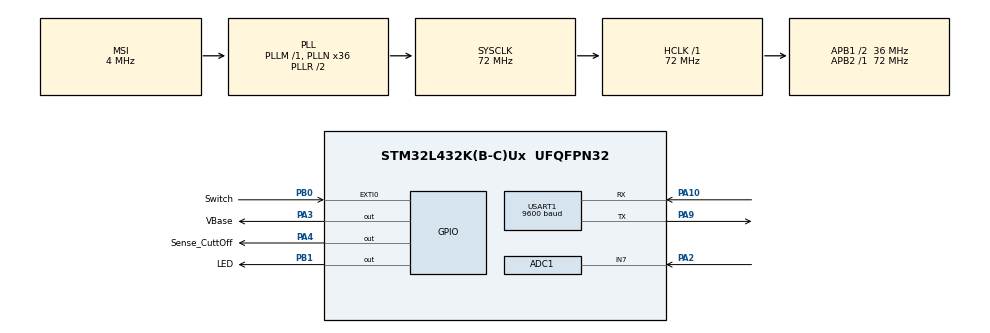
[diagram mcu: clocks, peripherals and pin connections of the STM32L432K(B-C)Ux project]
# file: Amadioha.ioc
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ADC1.Channel-0\#ChannelRegularConversion=ADC_CHANNEL_7
ADC1.ClockPrescaler=ADC_CLOCK_ASYNC_DIV4
ADC1.ContinuousConvMode=DISABLE
ADC1.NbrOfConversionFlag=1
ADC1.OffsetNumber-0\#ChannelRegularConversion=ADC_OFFSET_NONE
ADC1.Rank-0\#ChannelRegularConversion=1
ADC1.SamplingTime-0\#ChannelRegularConversion=ADC_SAMPLETIME_2CYCLES_5
ADC1.master=1
Mcu.Family=STM32L4
Mcu.Name=STM32L432K(B-C)Ux
Mcu.Package=UFQFPN32
NVIC.EXTI0_IRQn=true\:0\:0\:false\:false\:true\:true\:true\:true
NVIC.PriorityGroup=NVIC_PRIORITYGROUP_4
NVIC.TIM2_IRQn=true\:0\:0\:false\:false\:true\:true\:true\:true
NVIC.USART1_IRQn=true\:0\:0\:false\:false\:true\:true\:true\:true
PA10.Mode=Asynchronous
PA10.Signal=USART1_RX
PA13\ (JTMS-SWDIO).Mode=Trace_Asynchronous_SW
PA13\ (JTMS-SWDIO).Signal=SYS_JTMS-SWDIO
PA14\ (JTCK-SWCLK).Mode=Trace_Asynchronous_SW
PA14\ (JTCK-SWCLK).Signal=SYS_JTCK-SWCLK
PA2.Signal=ADCx_IN7
PA3.GPIO_Label=VBase
PA3.Signal=GPIO_Output
PA4.GPIO_Label=Sense_CuttOff
PA4.Signal=GPIO_Output
PA9.Mode=Asynchronous
PA9.Signal=USART1_TX
PB0.GPIO_Label=Switch
PB0.Signal=GPXTI0
PB1.GPIO_Label=LED
PB1.Signal=GPIO_Output
PB3\ (JTDO-TRACESWO).Mode=Trace_Asynchronous_SW
PB3\ (JTDO-TRACESWO).Signal=SYS_JTDO-SWO
ProjectManager.HeapSize=0x200
ProjectManager.StackSize=0x400
ProjectManager.TargetToolchain=STM32CubeIDE
RCC.ADCFreq_Value=32000000
RCC.AHBFreq_Value=72000000
RCC.APB1CLKDivider=RCC_HCLK_DIV2
RCC.APB1Freq_Value=36000000
RCC.APB1TimFreq_Value=72000000
RCC.APB2Freq_Value=72000000
RCC.APB2TimFreq_Value=72000000
RCC.CortexFreq_Value=72000000
RCC.HCLKFreq_Value=72000000
RCC.HSE_VALUE=8000000
RCC.HSI48_VALUE=48000000
RCC.HSI_VALUE=16000000
RCC.LSE_VALUE=32768
RCC.MSI_VALUE=4000000
RCC.PLLN=36
RCC.PLLSAI1N=16
RCC.SYSCLKFreq_VALUE=72000000
RCC.SYSCLKSource=RCC_SYSCLKSOURCE_PLLCLK
RCC.USBFreq_Value=32000000
RCC.VCOOutputFreq_Value=144000000
SH.ADCx_IN7.0=ADC1_IN7,IN7-Single-Ended
TIM2.Period=7199
TIM2.Prescaler=999
USART1.BaudRate=9600
USART1.VirtualMode-Asynchronous=VM_ASYNC
VP_TIM2_VS_ClockSourceINT.Mode=Internal
board=custom

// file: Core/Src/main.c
/* USER CODE BEGIN Header */
/**
  ******************************************************************************
  * @file           : main.c
  * @brief          : Main program body
  ******************************************************************************
  * @attention
  *
  * Copyright (c) 2024 STMicroelectronics.
  * All rights reserved.
  *
  * This software is licensed under terms that can be found in the LICENSE file
  * in the root directory of this software component.
  * If no LICENSE file comes with this software, it is provided AS-IS.
  *
 **********************PROJECT DESCRIPTION***********************************
  *  Firmware for smart light switch. Smart switch communicates with Hub to connecto to the internet
  *  Sends current value (A) to hub via zigbee network
  *  Receives action command to turn on or off load from end device(motion sensor)
  *  also receives on and off command from Hub (interface from internet)
  ******************************************************************************
  *
  * Data frame via Zigbee Protocol
  *Receive  	   [11]
  *Receive 		   [0]: ATSL 1
  *Receive 		   [1]: ATSL 2
  *Receive 		   [2]: ATSL 3
  *Receive 		   [3]: ATSL 4
  *Receive 		   [4]: ATSL 5
  *Receive 		   [5]: ATSL 6
  *Receive 		   [6]: ATSL 7
  *Receive 		   [7]: ATSL 8
  *Receive 		   [8]: Control -> Command (C0) or Request (FF)
  *Receive 		   [9]: Command Data -> Turn ON Load (0F) Turn off Load (0A)
  *Receive 		   [10]: Request Data -> Current Data (01)
  *Receive 		   [11]: '\r' End of Message
  *
  *Timers:
  *Timers:
    ******************************************************************************
  */
/* USER CODE END Header */
#include "main.h"
#include "adc.h"
#include "tim.h"
#include "usart.h"
#include "gpio.h"

/* USER CODE BEGIN Includes */
#include <stdio.h>
#include <string.h>
#include "math.h"
#include <zigbee.h>
/* USER CODE END Includes */

/* USER CODE BEGIN PV */
///////// XBee PV ////////////////////
uint8_t loadActive = 0;				 // Status for active Load
uint8_t previousLoadActive = 0;		// Store previous load state
uint8_t Load_Active[11] = {52, 50, 55, 48, 55, 53, 55, 65, 0xB3, 0x11, 0x0D};	// load active feedback
uint8_t Load_Inactive[11] = {52, 50, 55, 48, 55, 53, 55, 65, 0xB3, 0xAA, 0x0D}; // load inactive feedback

//Xbee transmission dataframe

 XBeeModule XBeeData =
 {		//initialization
		.rx_buffer = {0},
		.received_byte = 0,
		.data_received_flag = 0,
		.overflow_flag = 0,
		.myAddress = {0}
};
 NodeDiscovery newNode[MAX_DEVICES];

uint8_t myDestLow[8];			// store destination address low
uint8_t Control;                //used to determine if message is a request or command
uint8_t Data;				   // Transmission data
uint8_t deviceCount = 1;		// # of devices in network. initialized with 1 to count current device

//ADC PV for Current reading
float currentRMS = 0;  // Read current RMS value
volatile uint16_t adcValue;
volatile uint32_t lastDebounceTime = 0;
float samples[SAMPLE_COUNT];
char buffer[32];
char currentResponse[CURRENT_RESPONSE_SIZE];

/* USER CODE END PV */

void SystemClock_Config(void);
/* USER CODE BEGIN PFP */
void Enable_Load(void);
void Disable_Load(void);
void CheckAndTransmitLoadChange(void);
uint32_t Parse_RxSLData(uint8_t[]);
float Read_ADC(void);
float Calculate_RMS(float samples[], int sampleCount);
void handleSwitchControl(uint8_t Data);
void handleCurrentControl(void);
void RQPowerLevel();
void TxPowerLevel(uint8_t Level);
/* USER CODE END PFP */

int main(void)
{

  /* MCU Configuration--------------------------------------------------------*/

  /* Reset of all peripherals, Initializes the Flash interface and the Systick. */
	HAL_Init();

  /* Configure the system clock */
  SystemClock_Config();

  /* Initialize all configured peripherals */
  MX_GPIO_Init();
  MX_ADC1_Init();
  MX_USART1_UART_Init();
  MX_TIM2_Init();
  /* USER CODE BEGIN 2 */
  HAL_TIM_Base_Start_IT(&htim2);
  HAL_UART_Receive_IT(&huart1, &XBeeData.received_byte, 1);  // start IT receiving

/* XBEE Configuration--------------------------------------------------------*/
//
  //
  //enterCommandMode();
  //factoryReset();
  //XBee_NodeDiscovery();  // discover all devices in the same network. store in newNode
  //exitCommandMode();
 // HAL_Delay(2000);
  //requestParameter("ATdb\r", myDestLow, sizeof(myDestLow));
  //setDestinationAddress(ADDRESS_HIGH, 0x4270271A);
  //setParameter("ATNI SWITCH\r");
 // Request and store XBee Serial Number Low
   enterCommandMode();
   if (requestParameter("ATSL\r", XBeeData.myAddress, sizeof(XBeeData.myAddress)) == XBEE_SUCCESS) {
  } else {
	  //Blink LED in a loop to indicate issue
      while(1){
    	  HAL_GPIO_TogglePin(LED_GPIO_Port, LED_Pin); // turn on LEDs
    	  HAL_Delay(100);
      }
  }

/* XBEE Configuration Ends--------------------------------------------------*/
  /* USER CODE END 2 */
  memcpy(currentResponse, XBeeData.myAddress, 8);  //append my serial # low to current value response variable
  /* Infinite loop */
  /* USER CODE BEGIN WHILE */

  /*        BLICK TWICE FOR SUCCESSFUL INITIALIZATION       */
  HAL_GPIO_WritePin(LED_GPIO_Port, LED_Pin, GPIO_PIN_RESET);
  for(int j = 0; j < 2; j++)
  {
	  HAL_GPIO_TogglePin(LED_GPIO_Port, LED_Pin);
	  HAL_Delay(500);
  }

  while (1)
  {

	  if (XBeeData.data_received_flag) {
	           // Check if the message is meant for me
	           if (memcmp(XBeeData.myAddress, XBeeData.rx_buffer, 8) == 0) {
	               // Extract and handle command and data
	               Control = XBeeData.rx_buffer[8];
	               Data = XBeeData.rx_buffer[9];

	               if (Control == 0xC0) {
	                   handleSwitchControl(Data);
	               } else if (Control == 0xFF && Data == 0x01) {
	                   handleCurrentControl();
	               }
	           }

	           // Reset flags and buffers after processing
	           XBeeData.data_received_flag = 0;
	           memset(XBeeData.rx_buffer, 0, DATA_BUFFER_SIZE);
	           HAL_UART_Receive_IT(&huart1, &XBeeData.received_byte, 1);
	       }

    /* USER CODE END WHILE */

  }
}

void SystemClock_Config(void)
{
  RCC_OscInitTypeDef RCC_OscInitStruct = {0};
  RCC_ClkInitTypeDef RCC_ClkInitStruct = {0};

  /** Configure the main internal regulator output voltage
  */
  if (HAL_PWREx_ControlVoltageScaling(PWR_REGULATOR_VOLTAGE_SCALE1) != HAL_OK)
  {
    Error_Handler();
  }

  /** Initializes the RCC Oscillators according to the specified parameters
  * in the RCC_OscInitTypeDef structure.
  */
  RCC_OscInitStruct.OscillatorType = RCC_OSCILLATORTYPE_MSI;
  RCC_OscInitStruct.MSIState = RCC_MSI_ON;
  RCC_OscInitStruct.MSICalibrationValue = 0;
  RCC_OscInitStruct.MSIClockRange = RCC_MSIRANGE_6;
  RCC_OscInitStruct.PLL.PLLState = RCC_PLL_ON;
  RCC_OscInitStruct.PLL.PLLSource = RCC_PLLSOURCE_MSI;
  RCC_OscInitStruct.PLL.PLLM = 1;
  RCC_OscInitStruct.PLL.PLLN = 36;
  RCC_OscInitStruct.PLL.PLLP = RCC_PLLP_DIV7;
  RCC_OscInitStruct.PLL.PLLQ = RCC_PLLQ_DIV2;
  RCC_OscInitStruct.PLL.PLLR = RCC_PLLR_DIV2;
  if (HAL_RCC_OscConfig(&RCC_OscInitStruct) != HAL_OK)
  {
    Error_Handler();
  }

  /** Initializes the CPU, AHB and APB buses clocks
  */
  RCC_ClkInitStruct.ClockType = RCC_CLOCKTYPE_HCLK|RCC_CLOCKTYPE_SYSCLK
                              |RCC_CLOCKTYPE_PCLK1|RCC_CLOCKTYPE_PCLK2;
  RCC_ClkInitStruct.SYSCLKSource = RCC_SYSCLKSOURCE_PLLCLK;
  RCC_ClkInitStruct.AHBCLKDivider = RCC_SYSCLK_DIV1;
  RCC_ClkInitStruct.APB1CLKDivider = RCC_HCLK_DIV2;
  RCC_ClkInitStruct.APB2CLKDivider = RCC_HCLK_DIV1;

  if (HAL_RCC_ClockConfig(&RCC_ClkInitStruct, FLASH_LATENCY_4) != HAL_OK)
  {
    Error_Handler();
  }
}

/* USER CODE BEGIN 4 */

// Function to read ADC value
float Read_ADC(void)
{
    HAL_ADC_Start(&hadc1);  // Start ADC conversion
    HAL_ADC_PollForConversion(&hadc1, HAL_MAX_DELAY);  // Wait for conversion to finish
     adcValue = HAL_ADC_GetValue(&hadc1);  // Get the ADC value

    volatile float voltage = (adcValue / ADC_RESOLUTION) * V_REF;  // Convert ADC value to voltage
    float zeroCurrentVoltage = 2.45;      // Measured sensor output voltage at zero current
    // Calculate current using sensor sensitivity (mV/A)
    float current = (voltage - zeroCurrentVoltage) / SENSITIVITY;  // in Amps
    return current;
}
// Function to calculate the RMS value of the sampled current
float Calculate_RMS(float samples[], int sampleCount) {
    float sumSquares = 0;

    for (int i = 0; i < sampleCount; i++) {
        sumSquares += samples[i] * samples[i];
    }

    // Return the square root of the mean of the squares (RMS value)
    return sqrt(sumSquares / sampleCount);
}

/*
 * checks if load changed state and transmits new state to motion sensor
 */
void CheckAndTransmitLoadChange(void)
{
    if (loadActive != previousLoadActive) {

        if (loadActive) {
            HAL_UART_Transmit(&huart1, Load_Active, sizeof(Load_Active), HAL_MAX_DELAY);  // Send "load active" message
        } else {
            HAL_UART_Transmit(&huart1, Load_Inactive, sizeof(Load_Inactive), HAL_MAX_DELAY);  // Send "load inactive" message
        }

        previousLoadActive = loadActive;
    }
}
/*
 * @func processes information for load control
 * @param Data section of Rx transmission
 */
void handleSwitchControl(uint8_t Data)
{
    if (Data == 0x0F) {
        if (!loadActive) {
            Enable_Load();
        }
    } else if (Data == 0x0A) {
        if (loadActive) {
            Disable_Load();
        }
    }
}

// Function to handle Control == 0xFF and Data == 0x01
void handleCurrentControl()
{
    // Take sample of SAMPLE_COUNT of current readings
    for (int i = 0; i < SAMPLE_COUNT; i++) {
        samples[i] = Read_ADC();
        HAL_Delay(1);
    }
    currentRMS = Calculate_RMS(samples, SAMPLE_COUNT); // Calculate the RMS value
    sprintf(buffer, "%.2f\r", currentRMS); // Format float to a string

    int msgLength = strlen((char*)currentResponse);
    int bufferLength = strlen(buffer);
    if (msgLength + bufferLength  < CURRENT_RESPONSE_SIZE){
        strcat((char *)currentResponse, buffer); // Append currentRMS to xbeeMessage
    }
    HAL_UART_Transmit(&huart1,  (uint8_t *)currentResponse, strlen((char*)currentResponse), HAL_MAX_DELAY);

    // Reset the currentResponse to its initial state
    memset(currentResponse + 8, 0, CURRENT_RESPONSE_SIZE - 8); // Clear all content after the 8-byte address
    currentResponse[8] = '\0'; // Ensure null termination
}

/*
 * Enable Load when Load is disabled
 * Turn on Onboard LED
 */
void Enable_Load(void)
{
	loadActive = 1;

	HAL_GPIO_WritePin(LED_GPIO_Port, LED_Pin, SET); // turn on LEDs
	HAL_GPIO_WritePin(GPIOA, VBase_Pin, SET); //engage relay
	CheckAndTransmitLoadChange();
}
/*
 * Disable Load when Load is active
 * Turn off Onboard LED
 */
void Disable_Load(void)
{
	loadActive = 0;

	HAL_GPIO_WritePin(LED_GPIO_Port, LED_Pin, RESET); // turn off LEDs
	HAL_GPIO_WritePin(GPIOA, VBase_Pin, RESET); // disengage relay
	CheckAndTransmitLoadChange();
}
/*
 * Parse Received Data for ATSL
 *
 */
uint32_t Parse_RxSLData(uint8_t data[])
{
	uint32_t address = 0;
    // Shift and merge the 4 bytes into a 32-bit integer
    address |= ((uint32_t)data[0] << 24);  // Most significant byte
    address |= ((uint32_t)data[1] << 16);
    address |= ((uint32_t)data[2] << 8);
    address |= ((uint32_t)data[3] << 0);   // Least significant byte

    return address;
}

/* Check if the power on button is pushed
 * if pushed when the load is active, it turns off the load and vice-versa
*/
 void HAL_GPIO_EXTI_Callback(uint16_t GPIO_Pin)
{

	 if(GPIO_Pin == Switch_Pin)
	     {
	         /* Get the current time (in milliseconds) */
	         uint32_t currentTime = HAL_GetTick(); // HAL_GetTick() returns the system time in ms
	         /* Check if enough time has passed since the last press to consider this a valid press */
	         if((currentTime - lastDebounceTime) >= DEBOUNCE_DELAY_MS)
	         {
	             /* Toggle the load state */
	             (loadActive) ? Disable_Load(): Enable_Load();
	             /* Update the last debounce time */
	             lastDebounceTime = currentTime;
	         }
	     }
}

 /*
  * Receive interrupt callback function
  */

 void HAL_UART_RxCpltCallback(UART_HandleTypeDef *huart) {
     static uint8_t index = 0;

     if (huart->Instance == USART1) {
         if (index < DATA_BUFFER_SIZE - 1) {
        	 XBeeData.rx_buffer[index++] = XBeeData.received_byte;

             if (XBeeData.received_byte == '\r') {  // End of response
            	 XBeeData.data_received_flag = 1;
                 XBeeData.rx_buffer[index] = '\0';  // Null-terminate
                 index = 0;  // Reset for next reception
             }
         } else {
        	 XBeeData.overflow_flag = 1;  // Signal buffer overflow
             index = 0;  // Optionally reset the buffer
         }

         HAL_UART_Receive_IT(&huart1, &XBeeData.received_byte, 1);  // Continue receiving
     }
 }
/* USER CODE END 4 */

void Error_Handler(void)
{
  __disable_irq();
  while (1)
  {
  }
}
